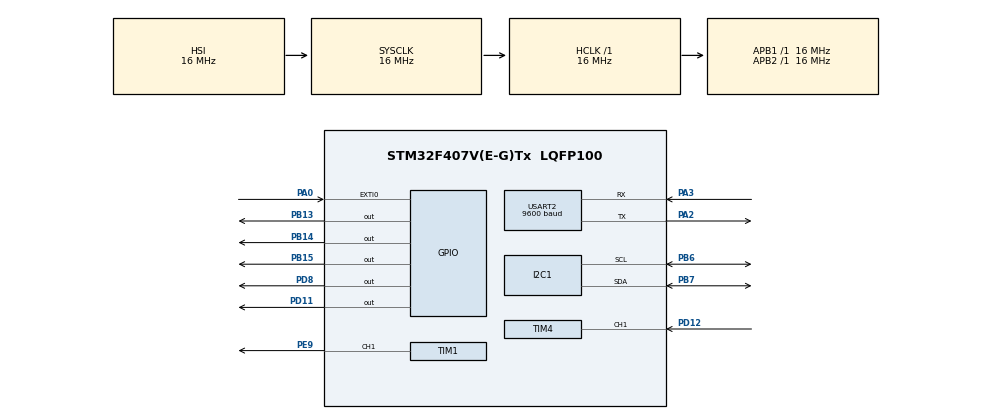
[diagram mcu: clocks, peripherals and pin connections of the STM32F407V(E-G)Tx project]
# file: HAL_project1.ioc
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Mcu.Family=STM32F4
Mcu.Name=STM32F407V(E-G)Tx
Mcu.Package=LQFP100
NVIC.PriorityGroup=NVIC_PRIORITYGROUP_0
NVIC.TIM4_IRQn=true\:0\:0\:false\:false\:true\:true\:true\:true
PA0-WKUP.Signal=GPXTI0
PA2.Mode=Asynchronous
PA2.Signal=USART2_TX
PA3.Mode=Asynchronous
PA3.Signal=USART2_RX
PB13.Signal=GPIO_Output
PB14.Signal=GPIO_Output
PB15.Signal=GPIO_Output
PB6.Mode=I2C
PB6.Signal=I2C1_SCL
PB7.Mode=I2C
PB7.Signal=I2C1_SDA
PD11.Signal=GPIO_Output
PD12.Signal=S_TIM4_CH1
PD8.Signal=GPIO_Output
PE9.Signal=S_TIM1_CH1
ProjectManager.HeapSize=0x200
ProjectManager.StackSize=0x400
ProjectManager.TargetToolchain=STM32CubeIDE
RCC.48MHZClocksFreq_Value=24000000
RCC.AHBFreq_Value=16000000
RCC.APB1Freq_Value=16000000
RCC.APB1TimFreq_Value=16000000
RCC.APB2Freq_Value=16000000
RCC.APB2TimFreq_Value=16000000
RCC.CortexFreq_Value=16000000
RCC.HCLKFreq_Value=16000000
RCC.HSE_VALUE=8000000
RCC.HSI_VALUE=16000000
RCC.LSE_VALUE=32768
RCC.PLLM=8
RCC.PLLN=84
RCC.PLLQ=7
RCC.SYSCLKFreq_VALUE=16000000
RCC.VCOOutputFreq_Value=168000000
SH.S_TIM1_CH1.0=TIM1_CH1,PWM Generation1 CH1
SH.S_TIM4_CH1.0=TIM4_CH1,Input_Capture1_from_TI1
TIM1.AutoReloadPreload=TIM_AUTORELOAD_PRELOAD_ENABLE
TIM1.Channel-PWM\ Generation1\ CH1=TIM_CHANNEL_1
TIM1.Period=99
TIM1.Prescaler=16
TIM4.AutoReloadPreload=TIM_AUTORELOAD_PRELOAD_ENABLE
TIM4.Channel-Input_Capture1_from_TI1=TIM_CHANNEL_1
TIM4.Prescaler=16
USART2.BaudRate=9600
USART2.VirtualMode=VM_ASYNC
VP_TIM1_VS_ClockSourceINT.Mode=Internal
VP_TIM4_VS_ClockSourceINT.Mode=Internal
board=STM32F407G-DISC1

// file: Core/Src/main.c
/* USER CODE BEGIN Header */
/**
  ******************************************************************************
  * @file           : main.c
  * @brief          : Main program body
  ******************************************************************************
  * @attention
  *
  * Copyright (c) 2024 STMicroelectronics.
  * All rights reserved.
  *
  * This software is licensed under terms that can be found in the LICENSE file
  * in the root directory of this software component.
  * If no LICENSE file comes with this software, it is provided AS-IS.
  *
  ******************************************************************************
  */
/* USER CODE END Header */
#include "main.h"

/* USER CODE BEGIN Includes */
#include <stdio.h>
#include <string.h>
/* USER CODE END Includes */

/* USER CODE BEGIN PD */
#define ULTRASONIC_TRIGGER_PORT		GPIOD
#define ULTRASONIC_TRIGGER_PIN		GPIO_PIN_11
#define ULTRASONIC_ECHO_PIN_IC		&htim4			//GPIO_PIN_12
/* USER CODE END PD */

I2C_HandleTypeDef hi2c1;

TIM_HandleTypeDef htim1;
TIM_HandleTypeDef htim4;

UART_HandleTypeDef huart2;

/* USER CODE BEGIN PV */
uint16_t distance = 0;
uint8_t isReadingFinished = 0;
uint8_t isRisingCaptured = 0;
uint32_t InputCaptureValue_1 = 0;
uint32_t InputCaptureValue_2 = 0;
uint32_t InputCaptureDifference = 0;

static uint16_t flag = 0;
/* USER CODE END PV */

void SystemClock_Config(void);
static void MX_GPIO_Init(void);
static void MX_I2C1_Init(void);
static void MX_TIM4_Init(void);
static void MX_USART2_UART_Init(void);
static void MX_TIM1_Init(void);

/* USER CODE BEGIN 0 */

void Ultrasonic_distance(void)
{
	//Send Trigger Signal to ultrasonic trigger pin
	HAL_GPIO_WritePin(ULTRASONIC_TRIGGER_PORT, ULTRASONIC_TRIGGER_PIN, GPIO_PIN_SET);
	HAL_Delay(10);
	HAL_GPIO_WritePin(ULTRASONIC_TRIGGER_PORT, ULTRASONIC_TRIGGER_PIN, GPIO_PIN_RESET);
	//Enable Timer counter
	__HAL_TIM_ENABLE_IT(ULTRASONIC_ECHO_PIN_IC, TIM_IT_CC1);
}

void HAL_TIM_IC_CaptureCallback(TIM_HandleTypeDef *htim)
{
	//Capture Rising Edge
	if(isRisingCaptured == 0)
	{
		InputCaptureValue_1 = HAL_TIM_ReadCapturedValue(&htim4, TIM_CHANNEL_1);
		isRisingCaptured = 1;
		__HAL_TIM_SET_CAPTUREPOLARITY(&htim4, TIM_CHANNEL_1, TIM_INPUTCHANNELPOLARITY_FALLING);
	}
	//Capture Falling Edge
	else if(isRisingCaptured == 1)
	{
		InputCaptureValue_2 = HAL_TIM_ReadCapturedValue(&htim4, TIM_CHANNEL_1);
		__HAL_TIM_SET_COUNTER(&htim4, 0);

		if(InputCaptureValue_2 > InputCaptureValue_1)
		{
			InputCaptureDifference = InputCaptureValue_2 - InputCaptureValue_1;
		}
		else if(InputCaptureValue_1 > InputCaptureValue_2)
		{
			InputCaptureDifference = (0xFFFF - InputCaptureValue_1) + InputCaptureValue_2;
		}

		distance = InputCaptureDifference * 0.0173;

		isReadingFinished = 1;

		isRisingCaptured = 0;

		__HAL_TIM_SET_CAPTUREPOLARITY(&htim4, TIM_CHANNEL_1, TIM_INPUTCHANNELPOLARITY_RISING);
		__HAL_TIM_DISABLE_IT(&htim4, TIM_IT_CC1);

	}

}

void HAL_GPIO_EXTI_Callback(uint16_t GPIO_Pin)
{
	flag = 1;
}

void Normal_GreenLED(void)
{
	HAL_GPIO_WritePin(GPIOB, GPIO_PIN_13, GPIO_PIN_SET);
	HAL_GPIO_WritePin(GPIOB, GPIO_PIN_14, GPIO_PIN_RESET);
	HAL_GPIO_WritePin(GPIOB, GPIO_PIN_15, GPIO_PIN_RESET);
	HAL_GPIO_WritePin(GPIOD, GPIO_PIN_8, GPIO_PIN_RESET);
}

void Goslow_YelloLED(void)
{
	HAL_GPIO_WritePin(GPIOB, GPIO_PIN_13, GPIO_PIN_RESET);
	HAL_GPIO_WritePin(GPIOB, GPIO_PIN_14, GPIO_PIN_SET);
	HAL_GPIO_WritePin(GPIOB, GPIO_PIN_15, GPIO_PIN_RESET);
	HAL_GPIO_WritePin(GPIOD, GPIO_PIN_8, GPIO_PIN_RESET);
}

void Alert_RedLED(void)
{
	HAL_GPIO_WritePin(GPIOB, GPIO_PIN_13, GPIO_PIN_RESET);
	HAL_GPIO_WritePin(GPIOB, GPIO_PIN_14, GPIO_PIN_RESET);
	HAL_GPIO_WritePin(GPIOB, GPIO_PIN_15, GPIO_PIN_SET);
	HAL_GPIO_WritePin(GPIOD, GPIO_PIN_8, GPIO_PIN_RESET);
}

void Accident_Alarm(void)
{
	HAL_GPIO_WritePin(GPIOB, GPIO_PIN_13, GPIO_PIN_RESET);
	HAL_GPIO_WritePin(GPIOB, GPIO_PIN_14, GPIO_PIN_RESET);
	HAL_GPIO_WritePin(GPIOB, GPIO_PIN_15, GPIO_PIN_SET);
	HAL_GPIO_WritePin(GPIOD, GPIO_PIN_8, GPIO_PIN_SET);
}

/* USER CODE END 0 */

int main(void)
{

  /* USER CODE BEGIN 1 */

	char str[64];
	char *str2 = "This is UART initialization\r\n";
	char *str3 = "Normal Mode";
	char *str4 = "Vehicle Ahead";
	char *str5 = "Go Slow";
	char *str6 = "Stop";
	char *str7 = "Accident Happened";

  /* USER CODE END 1 */

  /* MCU Configuration--------------------------------------------------------*/

  /* Reset of all peripherals, Initializes the Flash interface and the Systick. */
  HAL_Init();

  /* Configure the system clock */
  SystemClock_Config();

  /* Initialize all configured peripherals */
  MX_GPIO_Init();
  MX_I2C1_Init();
  MX_TIM4_Init();
  MX_USART2_UART_Init();
  MX_TIM1_Init();
  /* USER CODE BEGIN 2 */

  HAL_TIM_PWM_Start(&htim1, TIM_CHANNEL_1);
  HAL_UART_Transmit(&huart2, (uint8_t *)str2, strlen(str2), HAL_MAX_DELAY);
  HAL_TIM_IC_Start_IT(&htim4, TIM_CHANNEL_1);

  /* USER CODE END 2 */

  /* Infinite loop */
  while (1)
  {

    /* USER CODE BEGIN 3 */

	  int ret = lcd16x2_i2c_init(&hi2c1);
	  Ultrasonic_distance();
	  sprintf(str, "Distance : %d cms \r \n", distance);
	  HAL_UART_Transmit(&huart2, (uint8_t *)str, strlen(str), HAL_MAX_DELAY);
	  HAL_Delay(1000);

	  if(distance > 80)
	  {
		  Normal_GreenLED();
		  if(ret)
		  {
		  	  lcd16x2_i2c_setCursor(0, 0);
		  	  lcd16x2_i2c_printf(str3);
		  }
		  htim1.Instance->CCR1 = 89;
	  }
	  else if(distance < 80 && distance > 15)
	  {
		  Goslow_YelloLED();
		  if(ret)
		  {
		  	  lcd16x2_i2c_setCursor(0, 0);
		  	  lcd16x2_i2c_printf(str4);
		  	  lcd16x2_i2c_setCursor(1, 0);
		  	  lcd16x2_i2c_printf(str5);
		  }
		  htim1.Instance->CCR1 = 74;
		  HAL_Delay(2000);
		  htim1.Instance->CCR1 = 49;
		  HAL_Delay(2000);
		  htim1.Instance->CCR1 = 39;
	  }
	  else if(distance < 10 && distance > 5)
	  {
		  Alert_RedLED();
		  if(ret)
		  {
		  	  lcd16x2_i2c_setCursor(0, 0);
		  	  lcd16x2_i2c_printf(str6);
		  }
		  htim1.Instance->CCR1 = 29;
	  }
	  else if(flag == 1 && distance < 5)
	  {
		  Accident_Alarm();
		  if(ret)
		  {
		  	  lcd16x2_i2c_setCursor(0, 0);
		  	  lcd16x2_i2c_printf(str7);
		  }
		  flag = 0;
		  htim1.Instance->CCR1 = 0;
	  }

  }
  /* USER CODE END 3 */
}

void SystemClock_Config(void)
{
  RCC_OscInitTypeDef RCC_OscInitStruct = {0};
  RCC_ClkInitTypeDef RCC_ClkInitStruct = {0};

  /** Configure the main internal regulator output voltage
  */
  __HAL_RCC_PWR_CLK_ENABLE();
  __HAL_PWR_VOLTAGESCALING_CONFIG(PWR_REGULATOR_VOLTAGE_SCALE1);

  /** Initializes the RCC Oscillators according to the specified parameters
  * in the RCC_OscInitTypeDef structure.
  */
  RCC_OscInitStruct.OscillatorType = RCC_OSCILLATORTYPE_HSI;
  RCC_OscInitStruct.HSIState = RCC_HSI_ON;
  RCC_OscInitStruct.HSICalibrationValue = RCC_HSICALIBRATION_DEFAULT;
  RCC_OscInitStruct.PLL.PLLState = RCC_PLL_NONE;
  if (HAL_RCC_OscConfig(&RCC_OscInitStruct) != HAL_OK)
  {
    Error_Handler();
  }

  /** Initializes the CPU, AHB and APB buses clocks
  */
  RCC_ClkInitStruct.ClockType = RCC_CLOCKTYPE_HCLK|RCC_CLOCKTYPE_SYSCLK
                              |RCC_CLOCKTYPE_PCLK1|RCC_CLOCKTYPE_PCLK2;
  RCC_ClkInitStruct.SYSCLKSource = RCC_SYSCLKSOURCE_HSI;
  RCC_ClkInitStruct.AHBCLKDivider = RCC_SYSCLK_DIV1;
  RCC_ClkInitStruct.APB1CLKDivider = RCC_HCLK_DIV1;
  RCC_ClkInitStruct.APB2CLKDivider = RCC_HCLK_DIV1;

  if (HAL_RCC_ClockConfig(&RCC_ClkInitStruct, FLASH_LATENCY_0) != HAL_OK)
  {
    Error_Handler();
  }
}

static void MX_I2C1_Init(void)
{

  hi2c1.Instance = I2C1;
  hi2c1.Init.ClockSpeed = 100000;
  hi2c1.Init.DutyCycle = I2C_DUTYCYCLE_2;
  hi2c1.Init.OwnAddress1 = 0;
  hi2c1.Init.AddressingMode = I2C_ADDRESSINGMODE_7BIT;
  hi2c1.Init.DualAddressMode = I2C_DUALADDRESS_DISABLE;
  hi2c1.Init.OwnAddress2 = 0;
  hi2c1.Init.GeneralCallMode = I2C_GENERALCALL_DISABLE;
  hi2c1.Init.NoStretchMode = I2C_NOSTRETCH_DISABLE;
  if (HAL_I2C_Init(&hi2c1) != HAL_OK)
  {
    Error_Handler();
  }

}

static void MX_TIM1_Init(void)
{

  TIM_ClockConfigTypeDef sClockSourceConfig = {0};
  TIM_MasterConfigTypeDef sMasterConfig = {0};
  TIM_OC_InitTypeDef sConfigOC = {0};
  TIM_BreakDeadTimeConfigTypeDef sBreakDeadTimeConfig = {0};

  htim1.Instance = TIM1;
  htim1.Init.Prescaler = 16;
  htim1.Init.CounterMode = TIM_COUNTERMODE_UP;
  htim1.Init.Period = 99;
  htim1.Init.ClockDivision = TIM_CLOCKDIVISION_DIV1;
  htim1.Init.RepetitionCounter = 0;
  htim1.Init.AutoReloadPreload = TIM_AUTORELOAD_PRELOAD_ENABLE;
  if (HAL_TIM_Base_Init(&htim1) != HAL_OK)
  {
    Error_Handler();
  }
  sClockSourceConfig.ClockSource = TIM_CLOCKSOURCE_INTERNAL;
  if (HAL_TIM_ConfigClockSource(&htim1, &sClockSourceConfig) != HAL_OK)
  {
    Error_Handler();
  }
  if (HAL_TIM_PWM_Init(&htim1) != HAL_OK)
  {
    Error_Handler();
  }
  sMasterConfig.MasterOutputTrigger = TIM_TRGO_RESET;
  sMasterConfig.MasterSlaveMode = TIM_MASTERSLAVEMODE_DISABLE;
  if (HAL_TIMEx_MasterConfigSynchronization(&htim1, &sMasterConfig) != HAL_OK)
  {
    Error_Handler();
  }
  sConfigOC.OCMode = TIM_OCMODE_PWM1;
  sConfigOC.Pulse = 0;
  sConfigOC.OCPolarity = TIM_OCPOLARITY_HIGH;
  sConfigOC.OCNPolarity = TIM_OCNPOLARITY_HIGH;
  sConfigOC.OCFastMode = TIM_OCFAST_DISABLE;
  sConfigOC.OCIdleState = TIM_OCIDLESTATE_RESET;
  sConfigOC.OCNIdleState = TIM_OCNIDLESTATE_RESET;
  if (HAL_TIM_PWM_ConfigChannel(&htim1, &sConfigOC, TIM_CHANNEL_1) != HAL_OK)
  {
    Error_Handler();
  }
  sBreakDeadTimeConfig.OffStateRunMode = TIM_OSSR_DISABLE;
  sBreakDeadTimeConfig.OffStateIDLEMode = TIM_OSSI_DISABLE;
  sBreakDeadTimeConfig.LockLevel = TIM_LOCKLEVEL_OFF;
  sBreakDeadTimeConfig.DeadTime = 0;
  sBreakDeadTimeConfig.BreakState = TIM_BREAK_DISABLE;
  sBreakDeadTimeConfig.BreakPolarity = TIM_BREAKPOLARITY_HIGH;
  sBreakDeadTimeConfig.AutomaticOutput = TIM_AUTOMATICOUTPUT_DISABLE;
  if (HAL_TIMEx_ConfigBreakDeadTime(&htim1, &sBreakDeadTimeConfig) != HAL_OK)
  {
    Error_Handler();
  }
  HAL_TIM_MspPostInit(&htim1);

}

static void MX_TIM4_Init(void)
{

  TIM_ClockConfigTypeDef sClockSourceConfig = {0};
  TIM_MasterConfigTypeDef sMasterConfig = {0};
  TIM_IC_InitTypeDef sConfigIC = {0};

  htim4.Instance = TIM4;
  htim4.Init.Prescaler = 16;
  htim4.Init.CounterMode = TIM_COUNTERMODE_UP;
  htim4.Init.Period = 65535;
  htim4.Init.ClockDivision = TIM_CLOCKDIVISION_DIV1;
  htim4.Init.AutoReloadPreload = TIM_AUTORELOAD_PRELOAD_ENABLE;
  if (HAL_TIM_Base_Init(&htim4) != HAL_OK)
  {
    Error_Handler();
  }
  sClockSourceConfig.ClockSource = TIM_CLOCKSOURCE_INTERNAL;
  if (HAL_TIM_ConfigClockSource(&htim4, &sClockSourceConfig) != HAL_OK)
  {
    Error_Handler();
  }
  if (HAL_TIM_IC_Init(&htim4) != HAL_OK)
  {
    Error_Handler();
  }
  sMasterConfig.MasterOutputTrigger = TIM_TRGO_RESET;
  sMasterConfig.MasterSlaveMode = TIM_MASTERSLAVEMODE_DISABLE;
  if (HAL_TIMEx_MasterConfigSynchronization(&htim4, &sMasterConfig) != HAL_OK)
  {
    Error_Handler();
  }
  sConfigIC.ICPolarity = TIM_INPUTCHANNELPOLARITY_RISING;
  sConfigIC.ICSelection = TIM_ICSELECTION_DIRECTTI;
  sConfigIC.ICPrescaler = TIM_ICPSC_DIV1;
  sConfigIC.ICFilter = 0;
  if (HAL_TIM_IC_ConfigChannel(&htim4, &sConfigIC, TIM_CHANNEL_1) != HAL_OK)
  {
    Error_Handler();
  }

}

static void MX_USART2_UART_Init(void)
{

  huart2.Instance = USART2;
  huart2.Init.BaudRate = 9600;
  huart2.Init.WordLength = UART_WORDLENGTH_8B;
  huart2.Init.StopBits = UART_STOPBITS_1;
  huart2.Init.Parity = UART_PARITY_NONE;
  huart2.Init.Mode = UART_MODE_TX_RX;
  huart2.Init.HwFlowCtl = UART_HWCONTROL_NONE;
  huart2.Init.OverSampling = UART_OVERSAMPLING_16;
  if (HAL_UART_Init(&huart2) != HAL_OK)
  {
    Error_Handler();
  }

}

static void MX_GPIO_Init(void)
{
  GPIO_InitTypeDef GPIO_InitStruct = {0};

  /* GPIO Ports Clock Enable */
  __HAL_RCC_GPIOA_CLK_ENABLE();
  __HAL_RCC_GPIOE_CLK_ENABLE();
  __HAL_RCC_GPIOB_CLK_ENABLE();
  __HAL_RCC_GPIOD_CLK_ENABLE();

  /*Configure GPIO pin Output Level */
  HAL_GPIO_WritePin(GPIOB, GPIO_PIN_13|GPIO_PIN_14|GPIO_PIN_15, GPIO_PIN_RESET);

  /*Configure GPIO pin Output Level */
  HAL_GPIO_WritePin(GPIOD, GPIO_PIN_8|GPIO_PIN_11, GPIO_PIN_RESET);

  /*Configure GPIO pin : PA0 */
  GPIO_InitStruct.Pin = GPIO_PIN_0;
  GPIO_InitStruct.Mode = GPIO_MODE_IT_RISING;
  GPIO_InitStruct.Pull = GPIO_NOPULL;
  HAL_GPIO_Init(GPIOA, &GPIO_InitStruct);

  /*Configure GPIO pins : PB13 PB14 PB15 */
  GPIO_InitStruct.Pin = GPIO_PIN_13|GPIO_PIN_14|GPIO_PIN_15;
  GPIO_InitStruct.Mode = GPIO_MODE_OUTPUT_PP;
  GPIO_InitStruct.Pull = GPIO_NOPULL;
  GPIO_InitStruct.Speed = GPIO_SPEED_FREQ_LOW;
  HAL_GPIO_Init(GPIOB, &GPIO_InitStruct);

  /*Configure GPIO pins : PD8 PD11 */
  GPIO_InitStruct.Pin = GPIO_PIN_8|GPIO_PIN_11;
  GPIO_InitStruct.Mode = GPIO_MODE_OUTPUT_PP;
  GPIO_InitStruct.Pull = GPIO_NOPULL;
  GPIO_InitStruct.Speed = GPIO_SPEED_FREQ_LOW;
  HAL_GPIO_Init(GPIOD, &GPIO_InitStruct);

}

void Error_Handler(void)
{
  __disable_irq();
  while (1)
  {
  }
}
